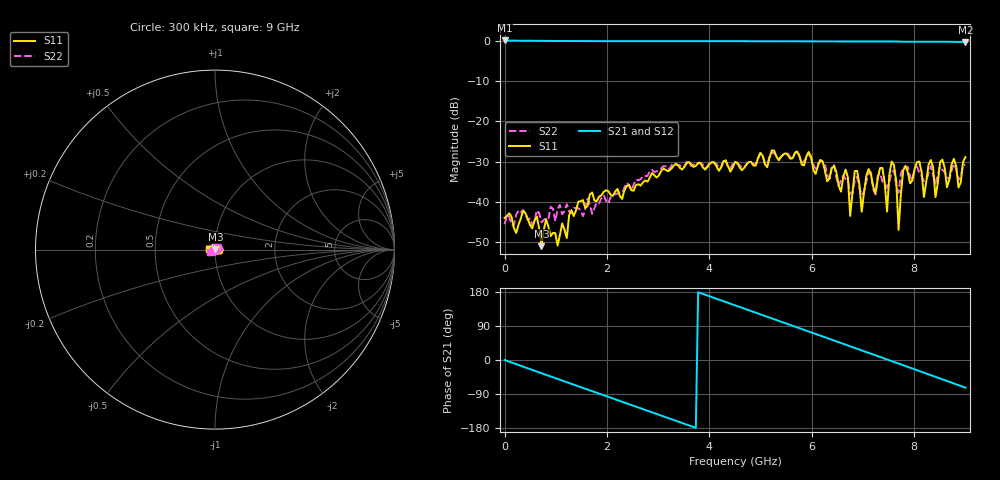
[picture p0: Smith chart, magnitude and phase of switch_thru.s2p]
# Hz S DB R 50
! CMT, SC5090, 24087134, 25.3.3/4
! Date: 26.11.2025 16:43:17
! Data: Format (Calibration Info)
! Freq	S11:dB/Ang(F2)	S21:dB/Ang(F2)	S12:dB/Ang(F2)	S22:dB/Ang(F2)
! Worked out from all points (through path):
!   201 points, 300 kHz to 9 GHz, reference 50 ohm
!   highest |S21| = 0.09 dB at 300 kHz (marker M1); lowest = -0.3 dB at 9 GHz (marker M2)
!   group delay of S21, straight-line fit = 133 ps
!   lowest |S11| = -50.9 dB at 720.3 MHz (marker M3), VSWR 1.01, Z = 50.3 + j0.109 ohm
!   |S11| at or under -10 dB: start of sweep to end of sweep
!   |S22| runs from -45.7 to -27.2 dB; largest |S21 - S12| = 0.0048
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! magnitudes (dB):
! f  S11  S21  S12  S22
! 300 kHz  -43.9  0.1  0.1  -45.4
! 720.3 MHz  -50.9  0.0  0.0  -45.0
! 1.53 GHz  -39.5  -0.1  -0.1  -43.5
! 3.015 GHz  -33.3  -0.1  -0.1  -31.9
! 4.5 GHz  -30.1  -0.1  -0.1  -30.2
! 6.03 GHz  -31.9  -0.1  -0.1  -30.7
! 6.66 GHz  -31.9  -0.1  -0.2  -34.3
! 6.75 GHz  -43.4  -0.1  -0.2  -37.9
! 6.84 GHz  -32.3  -0.1  -0.2  -34.6
! 6.975 GHz  -42.4  -0.2  -0.2  -38.2
! 7.335 GHz  -31.5  -0.2  -0.2  -32.9
! 7.47 GHz  -42.3  -0.2  -0.2  -36.4
! 7.515 GHz  -33.2  -0.2  -0.2  -35.0
! 7.605 GHz  -30.8  -0.2  -0.2  -32.1
! 7.695 GHz  -46.9  -0.2  -0.2  -37.6
! 7.83 GHz  -31.0  -0.2  -0.2  -31.3
! 8.19 GHz  -38.7  -0.2  -0.2  -34.7
! 8.325 GHz  -29.6  -0.2  -0.2  -31.1
! 8.415 GHz  -38.8  -0.2  -0.2  -35.3
! 8.505 GHz  -30.1  -0.2  -0.2  -31.2
! 8.865 GHz  -36.4  -0.3  -0.3  -34.5
! 9 GHz  -28.8  -0.3  -0.3  -30.7
